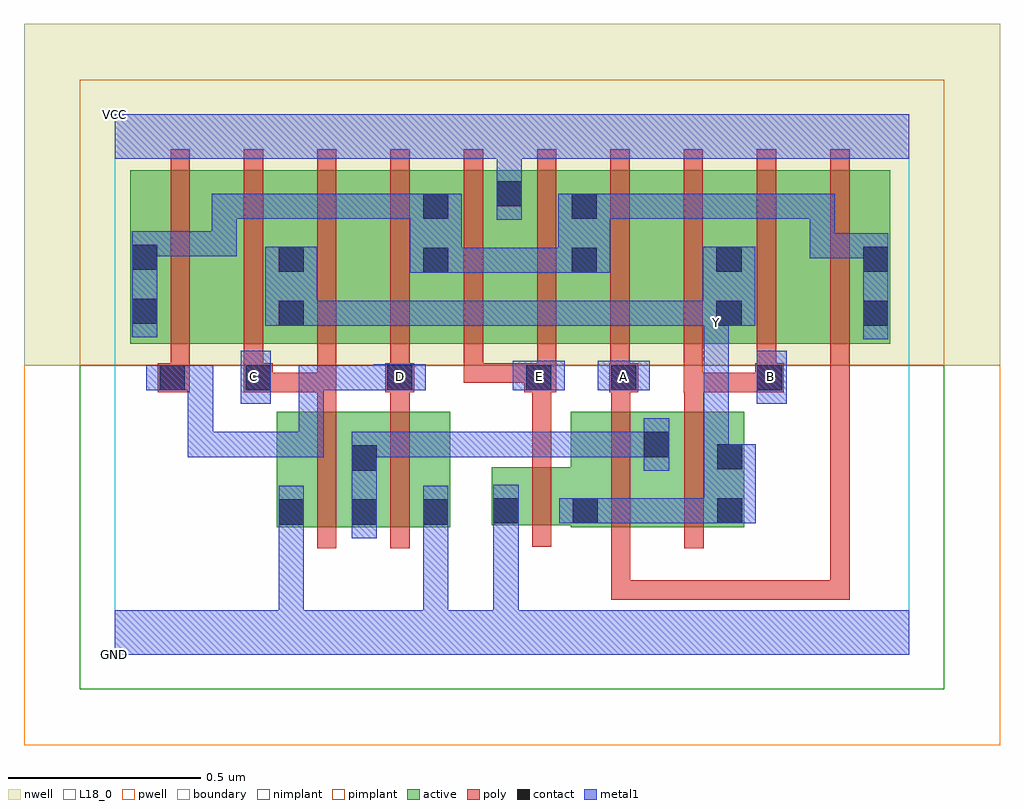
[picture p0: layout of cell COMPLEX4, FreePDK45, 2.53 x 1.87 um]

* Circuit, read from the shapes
.subckt COMPLEX4 A B C D E GND VCC Y
M1 n1 C GND VSUBS nfet w=0.3u l=0.05u
M2 GND D n1 VSUBS nfet w=0.3u l=0.05u
M3 Y E GND VSUBS nfet w=0.15u l=0.05u
M4 n1 A Y VSUBS nfet w=0.3u l=0.05u
M5 Y B n1 VSUBS nfet w=0.3u l=0.05u
M6 n2 D n3 n4 pfet w=0.45u l=0.05u
M7 Y C n2 n4 pfet w=0.45u l=0.05u
M8 n5 C Y n4 pfet w=0.45u l=0.05u
M9 n3 D n5 n4 pfet w=0.45u l=0.05u
M10 VCC E n3 n4 pfet w=0.45u l=0.05u m=2
M11 n6 A n3 n4 pfet w=0.45u l=0.05u
M12 Y B n6 n4 pfet w=0.45u l=0.05u
M13 n7 B Y n4 pfet w=0.45u l=0.05u
M14 n3 A n7 n4 pfet w=0.45u l=0.05u
.ends

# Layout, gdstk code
import gdstk
lib = gdstk.Library(unit=1e-6, precision=1e-09)
def R(c, l, rs):  # rectangles x0, y0, x1, y1
    for r in rs: c.add(gdstk.rectangle(r[:2], r[2:], *l))
def A(c, l, x, y, w, h, nx, ny, dx, dy):  # array of equal rectangles
    R(c, l, [(x+i*dx, y+j*dy, x+i*dx+w, y+j*dy+h) for i in range(nx) for j in range(ny)])
active = (1, 0)
pwell = (2, 0)
nwell = (3, 0)
nimplant = (4, 0)
pimplant = (5, 0)
poly = (9, 0)
contact = (10, 0)
metal1 = (11, 0)
L18_0 = (18, 0)
boundary = (235, 0)

complex4 = lib.new_cell('COMPLEX4')
R(complex4, active, [(0.42,0.33,0.685,0.63), (0.42,0.33,0.495,0.63), (0.61,0.33,0.87,0.63), (0.61,0.33,0.685,0.63), (0.795,0.33,0.87,0.547), (1.182,0.33,1.442,0.63), (1.182,0.33,1.257,0.485), (1.367,0.33,1.632,0.63), (0.977,0.335,1.257,0.485), (0.977,0.335,1.052,0.485), (1.557,0.335,1.632,0.63), (1.367,0.382,1.442,0.582), (0.04,0.805,0.265,1.255), (0.04,0.805,0.145,1.2), (0.265,0.805,0.495,1.255), (0.42,0.805,0.645,1.255), (0.42,0.805,0.495,1.07), (0.645,0.805,0.87,1.255), (0.795,0.805,0.87,1.2), (0.795,0.805,1.06,1.255), (0.985,0.805,1.255,1.255), (1.18,0.805,1.255,1.2), (1.18,0.805,1.405,1.255), (1.405,0.805,1.63,1.255), (1.555,0.805,1.785,1.255), (1.555,0.805,1.63,1.07), (1.785,0.805,2.01,1.255), (1.935,0.805,2.01,1.2), (0.985,0.852,1.06,1.255)])
R(complex4, pwell, [(-0.235,-0.235,2.295,0.75)])
R(complex4, nwell, [(-0.235,0.75,2.295,1.635)])
R(complex4, nimplant, [(-0.09,-0.09,2.15,0.75)])
R(complex4, pimplant, [(-0.09,0.75,2.15,1.49)])
A(complex4, poly, 0.715, 0.705, 0.05, 0.095, 4, 1, 0.19, 0)
A(complex4, poly, 0.145, 0.75, 0.05, 0.56, 10, 1, 0.19, 0)
R(complex4, poly, [(1.287,0.142,1.337,0.192), (1.287,0.142,1.337,0.192), (1.287,0.142,1.337,0.192), (1.287,0.142,1.577,0.192), (1.287,0.142,1.337,0.325), (1.527,0.142,1.577,0.192), (1.527,0.142,1.577,0.192), (1.527,0.142,1.577,0.192), (1.527,0.142,1.732,0.192), (1.682,0.142,1.732,0.192), (1.682,0.142,1.732,0.192), (1.682,0.142,1.732,0.192), (1.682,0.142,1.732,0.192), (1.682,0.142,1.732,0.192), (1.682,0.142,1.905,0.192), (1.855,0.142,1.905,0.8), (1.855,0.142,1.905,0.192), (1.855,0.142,1.905,0.192), (1.855,0.142,1.905,0.192), (1.855,0.142,1.905,0.192), (1.855,0.142,1.905,0.192), (1.855,0.142,1.905,0.192), (1.855,0.142,1.905,0.192), (0.525,0.275,0.575,0.685), (0.715,0.275,0.765,0.685), (1.287,0.275,1.337,0.685), (1.477,0.275,1.527,0.73), (1.082,0.28,1.132,0.54), (1.082,0.49,1.132,0.73), (0.525,0.635,0.575,0.73), (0.715,0.635,0.765,0.73), (1.287,0.635,1.337,0.73), (0.112,0.68,0.195,0.755), (0.335,0.68,0.41,0.755), (0.36,0.68,0.575,0.73), (0.525,0.68,0.575,0.73), (0.525,0.68,0.575,0.73), (0.525,0.68,0.575,0.73), (0.525,0.68,0.575,0.8), (0.702,0.68,0.777,0.755), (1.062,0.68,1.145,0.755), (1.282,0.68,1.357,0.755), (1.475,0.68,1.525,0.8), (1.475,0.68,1.527,0.73), (1.477,0.68,1.527,0.73), (1.477,0.68,1.527,0.73), (1.477,0.68,1.527,0.73), (1.477,0.68,1.71,0.73), (1.66,0.68,1.735,0.755), (0.145,0.705,0.195,0.8), (0.335,0.705,0.385,0.8), (0.905,0.705,0.955,0.755), (0.905,0.705,0.955,0.755), (0.905,0.705,0.955,0.755), (0.905,0.705,1.112,0.755), (1.665,0.705,1.715,0.8)])
R(complex4, contact, [(0.425,0.337,0.49,0.402), (0.615,0.337,0.68,0.402), (0.8,0.337,0.865,0.402), (0.982,0.34,1.047,0.405), (1.187,0.34,1.252,0.405), (1.562,0.34,1.627,0.405), (0.615,0.477,0.68,0.542), (1.562,0.48,1.627,0.545), (1.372,0.512,1.437,0.577), (0.117,0.685,0.182,0.75), (0.34,0.685,0.405,0.75), (0.707,0.685,0.772,0.75), (1.067,0.685,1.132,0.75), (1.287,0.685,1.352,0.75), (1.665,0.685,1.73,0.75), (0.425,0.852,0.49,0.917), (1.56,0.852,1.625,0.917), (1.94,0.852,2.005,0.917), (0.045,0.857,0.11,0.922), (0.8,0.99,0.865,1.055), (1.185,0.99,1.25,1.055), (0.425,0.992,0.49,1.057), (1.56,0.992,1.625,1.057), (1.94,0.992,2.005,1.057), (0.045,0.997,0.11,1.062), (0.8,1.13,0.865,1.195), (1.185,1.13,1.25,1.195), (0.99,1.162,1.055,1.227)])
R(complex4, metal1, [(0,0,2.06,0.115), (0.425,0.05,0.49,0.115), (0.425,0.05,0.49,0.115), (0.425,0.05,0.49,0.115), (0.425,0.05,0.49,0.115), (0.425,0.05,0.49,0.367), (0.8,0.05,0.865,0.367), (0.982,0.05,1.047,0.37), (0.425,0.302,0.49,0.437), (0.615,0.302,0.68,0.577), (0.8,0.302,0.865,0.367), (0.8,0.302,0.865,0.367), (0.8,0.302,0.865,0.367), (0.8,0.302,0.865,0.367), (0.8,0.302,0.865,0.437), (0.982,0.305,1.047,0.37), (0.982,0.305,1.047,0.37), (0.982,0.305,1.047,0.37), (0.982,0.305,1.047,0.37), (0.982,0.305,1.047,0.37), (0.982,0.305,1.047,0.37), (0.982,0.305,1.047,0.44), (1.152,0.34,1.287,0.405), (1.222,0.34,1.287,0.405), (1.222,0.34,1.287,0.405), (1.222,0.34,1.452,0.405), (1.387,0.34,1.452,0.405), (1.387,0.34,1.592,0.405), (1.527,0.34,1.592,0.405), (1.527,0.34,1.592,0.405), (1.527,0.34,1.592,0.405), (1.527,0.34,1.592,0.405), (1.527,0.34,1.662,0.545), (1.372,0.477,1.437,0.612), (1.527,0.48,1.592,0.857), (0.19,0.512,0.255,0.577), (0.19,0.512,0.405,0.577), (0.19,0.512,0.255,0.75), (0.34,0.512,0.405,0.577), (0.34,0.512,0.542,0.577), (0.477,0.512,0.542,0.577), (0.477,0.512,0.542,0.75), (0.615,0.512,0.68,0.577), (0.615,0.512,0.68,0.577), (0.615,0.512,0.91,0.577), (0.845,0.512,0.91,0.577), (0.845,0.512,0.91,0.577), (0.845,0.512,0.91,0.577), (0.845,0.512,1.077,0.577), (1.012,0.512,1.077,0.577), (1.012,0.512,1.077,0.577), (1.012,0.512,1.077,0.577), (1.012,0.512,1.3,0.577), (1.235,0.512,1.3,0.577), (1.235,0.512,1.3,0.577), (1.235,0.512,1.3,0.577), (1.235,0.512,1.437,0.577), (0.327,0.65,0.405,0.787), (1.665,0.65,1.742,0.787), (0.082,0.685,0.217,0.75), (0.152,0.685,0.255,0.75), (0.19,0.685,0.255,0.75), (0.477,0.685,0.542,0.75), (0.477,0.685,0.542,0.75), (0.477,0.685,0.542,0.75), (0.477,0.685,0.68,0.75), (0.615,0.685,0.68,0.75), (0.615,0.685,0.737,0.75), (0.672,0.685,0.807,0.752), (1.032,0.685,1.167,0.762), (1.252,0.685,1.387,0.762), (1.527,0.792,1.592,0.927), (1.94,0.817,2.005,1.092), (0.045,0.822,0.11,1.097), (0.39,0.852,0.525,1.057), (0.46,0.852,0.542,0.917), (0.477,0.852,0.542,0.917), (0.477,0.852,0.692,0.917), (0.627,0.852,0.692,0.917), (0.627,0.852,0.692,0.917), (0.627,0.852,0.692,0.917), (0.627,0.852,0.91,0.917), (0.845,0.852,0.91,0.917), (0.845,0.852,0.91,0.917), (0.845,0.852,0.91,0.917), (0.845,0.852,1.077,0.917), (1.012,0.852,1.077,0.917), (1.012,0.852,1.077,0.917), (1.012,0.852,1.077,0.917), (1.012,0.852,1.3,0.917), (1.235,0.852,1.3,0.917), (1.235,0.852,1.3,0.917), (1.235,0.852,1.3,0.917), (1.235,0.852,1.437,0.917), (1.372,0.852,1.437,0.917), (1.372,0.852,1.59,0.917), (1.525,0.852,1.59,0.917), (1.525,0.852,1.59,0.917), (1.525,0.852,1.66,1.057), (1.527,0.852,1.592,0.917), (0.765,0.99,0.9,1.195), (0.835,0.99,0.9,1.055), (0.835,0.99,0.9,1.055), (0.835,0.99,1.077,1.055), (1.012,0.99,1.077,1.055), (1.012,0.99,1.077,1.055), (1.012,0.99,1.077,1.055), (1.012,0.99,1.215,1.055), (1.15,0.99,1.285,1.195), (1.802,1.027,1.867,1.092), (1.802,1.027,2.005,1.092), (1.802,1.027,1.867,1.195), (1.94,1.027,2.005,1.092), (1.94,1.027,2.005,1.092), (0.045,1.032,0.11,1.097), (0.045,1.032,0.11,1.097), (0.045,1.032,0.317,1.097), (0.252,1.032,0.317,1.097), (0.252,1.032,0.317,1.195), (0.99,1.127,1.055,1.262), (0.252,1.13,0.317,1.195), (0.252,1.13,0.355,1.195), (0.29,1.13,0.355,1.195), (0.29,1.13,0.542,1.195), (0.477,1.13,0.542,1.195), (0.477,1.13,0.542,1.195), (0.477,1.13,0.542,1.195), (0.477,1.13,0.68,1.195), (0.615,1.13,0.68,1.195), (0.615,1.13,0.68,1.195), (0.615,1.13,0.68,1.195), (0.615,1.13,0.83,1.195), (1.22,1.13,1.285,1.195), (1.22,1.13,1.285,1.195), (1.22,1.13,1.437,1.195), (1.372,1.13,1.437,1.195), (1.372,1.13,1.437,1.195), (1.372,1.13,1.437,1.195), (1.372,1.13,1.73,1.195), (1.665,1.13,1.73,1.195), (1.665,1.13,1.73,1.195), (1.665,1.13,1.73,1.195), (1.665,1.13,1.867,1.195), (1.802,1.13,1.867,1.195), (0.99,1.197,1.055,1.35), (0,1.285,2.06,1.4)])
R(complex4, L18_0, [(0,0,2.06,0.115), (0.425,0.05,0.49,0.115), (0.425,0.05,0.49,0.115), (0.425,0.05,0.49,0.115), (0.425,0.05,0.49,0.115), (0.425,0.05,0.49,0.367), (0.8,0.05,0.865,0.367), (0.982,0.05,1.047,0.37), (0.425,0.302,0.49,0.437), (0.8,0.302,0.865,0.367), (0.8,0.302,0.865,0.367), (0.8,0.302,0.865,0.367), (0.8,0.302,0.865,0.367), (0.8,0.302,0.865,0.437), (0.982,0.305,1.047,0.37), (0.982,0.305,1.047,0.37), (0.982,0.305,1.047,0.37), (0.982,0.305,1.047,0.37), (0.982,0.305,1.047,0.37), (0.982,0.305,1.047,0.37), (0.982,0.305,1.047,0.44), (1.152,0.34,1.287,0.405), (1.222,0.34,1.287,0.405), (1.222,0.34,1.287,0.405), (1.222,0.34,1.452,0.405), (1.387,0.34,1.452,0.405), (1.387,0.34,1.592,0.405), (1.527,0.34,1.592,0.405), (1.527,0.34,1.592,0.405), (1.527,0.34,1.592,0.405), (1.527,0.34,1.592,0.405), (1.527,0.34,1.662,0.545), (1.527,0.48,1.592,0.857), (0.19,0.512,0.255,0.577), (0.19,0.512,0.255,0.75), (0.19,0.512,0.405,0.577), (0.34,0.512,0.405,0.577), (0.34,0.512,0.542,0.577), (0.477,0.512,0.542,0.577), (0.477,0.512,0.542,0.75), (0.327,0.65,0.405,0.787), (1.665,0.65,1.742,0.787), (0.082,0.685,0.217,0.75), (0.152,0.685,0.255,0.75), (0.19,0.685,0.255,0.75), (0.477,0.685,0.542,0.75), (0.477,0.685,0.542,0.75), (0.477,0.685,0.542,0.75), (0.477,0.685,0.68,0.75), (0.615,0.685,0.68,0.75), (0.615,0.685,0.737,0.75), (0.672,0.685,0.807,0.752), (1.032,0.685,1.167,0.762), (1.252,0.685,1.387,0.762), (0.327,0.687,0.392,0.752), (0.707,0.687,0.772,0.752), (1.067,0.687,1.132,0.752), (1.287,0.687,1.352,0.752), (1.667,0.687,1.732,0.752), (1.527,0.792,1.592,0.927), (1.527,0.827,1.592,0.892), (0.39,0.852,0.525,1.057), (0.46,0.852,0.542,0.917), (0.477,0.852,0.542,0.917), (0.477,0.852,0.692,0.917), (0.627,0.852,0.692,0.917), (0.627,0.852,0.692,0.917), (0.627,0.852,0.692,0.917), (0.627,0.852,0.91,0.917), (0.845,0.852,0.91,0.917), (0.845,0.852,0.91,0.917), (0.845,0.852,0.91,0.917), (0.845,0.852,1.077,0.917), (1.012,0.852,1.077,0.917), (1.012,0.852,1.077,0.917), (1.012,0.852,1.077,0.917), (1.012,0.852,1.3,0.917), (1.235,0.852,1.3,0.917), (1.235,0.852,1.3,0.917), (1.235,0.852,1.3,0.917), (1.235,0.852,1.437,0.917), (1.372,0.852,1.437,0.917), (1.372,0.852,1.59,0.917), (1.525,0.852,1.59,0.917), (1.525,0.852,1.59,0.917), (1.525,0.852,1.66,1.057), (1.527,0.852,1.592,0.917), (0.99,1.127,1.055,1.262), (0.99,1.197,1.055,1.35), (0,1.285,2.06,1.4)])
R(complex4, boundary, [(0,0,2.06,1.4)])
complex4.add(gdstk.Label('A', (1.32,0.72), layer=11, texttype=0))
complex4.add(gdstk.Label('B', (1.7,0.72), layer=11, texttype=0))
complex4.add(gdstk.Label('C', (0.36,0.72), layer=11, texttype=0))
complex4.add(gdstk.Label('D', (0.74,0.72), layer=11, texttype=0))
complex4.add(gdstk.Label('E', (1.1,0.72), layer=11, texttype=0))
complex4.add(gdstk.Label('Y', (1.56,0.86), layer=11, texttype=0))
complex4.add(gdstk.Label('VCC', (0,1.4), layer=11, texttype=0))
complex4.add(gdstk.Label('GND', (0,0), layer=11, texttype=0))

lib.write_gds('COMPLEX4.gds')
